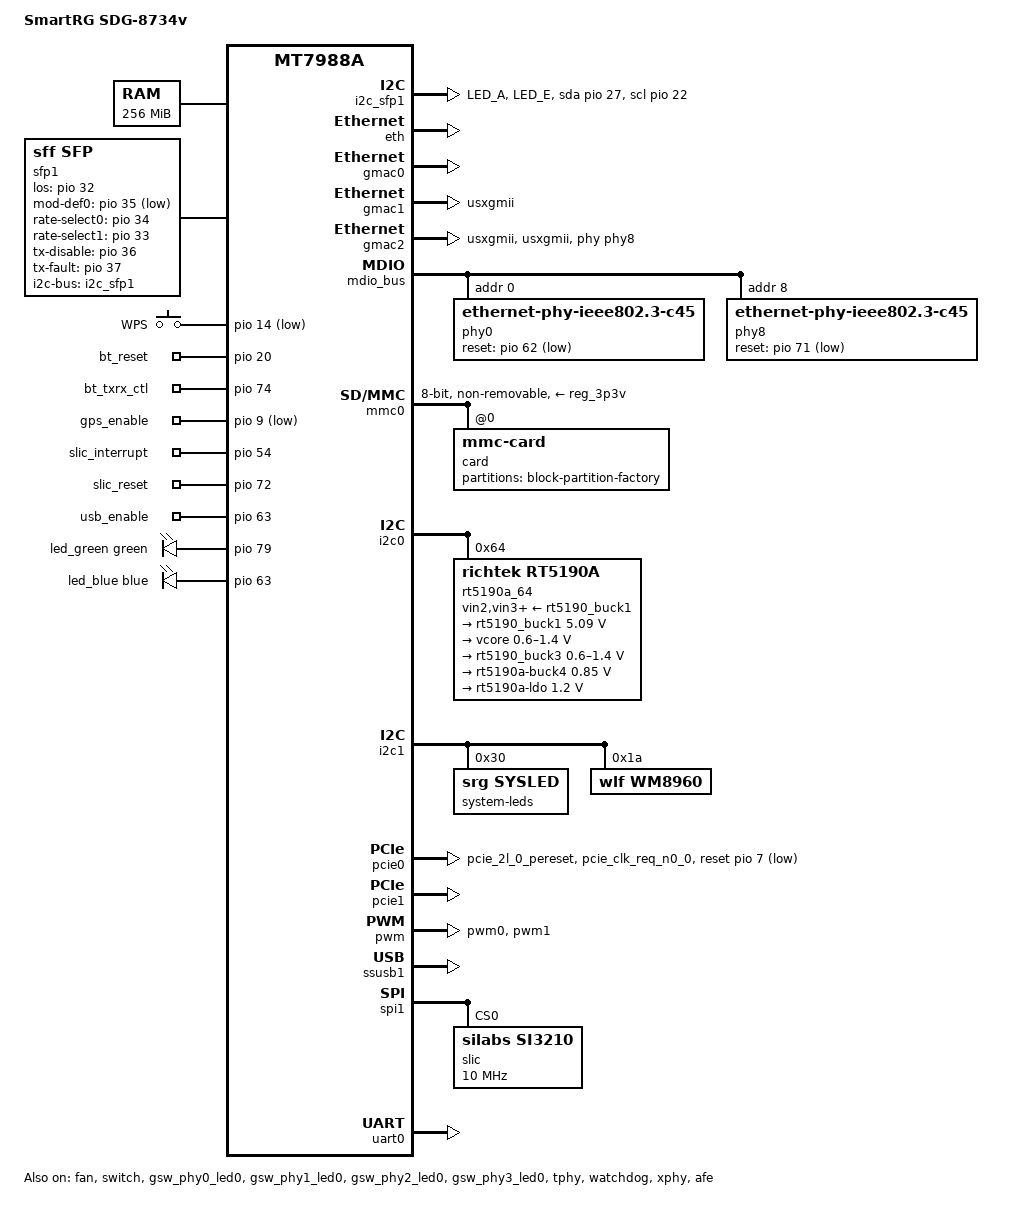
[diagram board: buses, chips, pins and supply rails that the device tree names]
// SPDX-License-Identifier: GPL-2.0-only OR MIT

/dts-v1/;

#include <dt-bindings/gpio/gpio.h>
#include <dt-bindings/input/input.h>
#include <dt-bindings/leds/common.h>
#include <dt-bindings/regulator/richtek,rt5190a-regulator.h>

#include "mt7988a.dtsi"

/ {
	compatible = "smartrg,sdg-8734v", "mediatek,mt7988a";
	model = "SmartRG SDG-8734v";
	chassis-type = "embedded";

	aliases {
		serial0 = &uart0;
		led-boot = &led_green;
		led-failsafe = &led_green;
		led-running = &led_green;
		led-upgrade = &led_green;
	};

	chosen {
		stdout-path = &uart0;
		bootargs = "console=ttyS0,115200n1 loglevel=8 pci=pcie_bus_perf";
	};

	memory {
		reg = <0x00 0x40000000 0x00 0x10000000>;
	};

	i2c_sfp1: i2c-gpio-0 {
		pinctrl-names = "default";
		pinctrl-0 = <&sfp_i2c_pins>;

		compatible = "i2c-gpio";
		sda-gpios = <&pio 27 (GPIO_ACTIVE_HIGH | GPIO_OPEN_DRAIN)>;
		scl-gpios = <&pio 22 (GPIO_ACTIVE_HIGH | GPIO_OPEN_DRAIN)>;
		i2c-gpio,delay-us = <2>;
		#address-cells = <1>;
		#size-cells = <0>;
	};

	sfp1: sfp1 {
		compatible = "sff,sfp";
		i2c-bus = <&i2c_sfp1>;
		los-gpios = <&pio 32 GPIO_ACTIVE_HIGH>;
		mod-def0-gpios = <&pio 35 GPIO_ACTIVE_LOW>;
		rate-select0-gpios = <&pio 34 GPIO_ACTIVE_HIGH>;
		rate-select1-gpios = <&pio 33 GPIO_ACTIVE_HIGH>;
		tx-disable-gpios = <&pio 36 GPIO_ACTIVE_HIGH>;
		tx-fault-gpios = <&pio 37 GPIO_ACTIVE_HIGH>;
		maximum-power-milliwatt = <4000>;
	};

	sound_wm8960 {
		compatible = "mediatek,mt7986-wm8960-sound";
		audio-routing = "Headphone", "HP_L", "Headphone", "HP_R", "LINPUT1", "AMIC", "RINPUT1", "AMIC";
		status = "disabled";

		platform {
			sound-dai = <&afe>;
		};

		codec {
			sound-dai = <&wm8960>;
		};
	};

	dummy_codec: dummy_codec {
		compatible = "d2,slic-dummy-codec";
		#sound-dai-cells = <0>;
	};

	sound_si3218x {
		compatible = "mediatek,mt7986-si3218x-sound";
		status = "okay";

		platform {
			sound-dai = <&afe>;
		};

		codec {
			sound-dai = <&dummy_codec>;
		};
	};


	gpio-keys {
		compatible = "gpio-keys";

		wps {
			label = "WPS";
			linux,code = <KEY_RESTART>;
			gpios = <&pio 14 GPIO_ACTIVE_LOW>;
		};
	};

	gpio-export {
		compatible = "gpio-export";

		bluetooth_reset {
			gpio-export,name = "bt_reset";
			gpio-export,direction_may_change;
			gpios = <&pio 20 GPIO_ACTIVE_HIGH>;
		};

		bluetooth_txrx_ctl {
			gpio-export,name = "bt_txrx_ctl";
			gpio-export,direction_may_change;
			gpios = <&pio 74 GPIO_ACTIVE_HIGH>;
		};

		gps_enable {
			gpio-export,name = "gps_enable";
			gpio-export,output = <1>;
			gpios = <&pio 9 GPIO_ACTIVE_LOW>;
		};

		slic_interrupt {
			gpio-export,name = "slic_interrupt";
			gpio-export,direction_may_change;
			gpios = <&pio 54 GPIO_ACTIVE_HIGH>;
		};

		slic_reset {
			gpio-export,name = "slic_reset";
			gpio-export,output = <0>;
			gpios = <&pio 72 GPIO_ACTIVE_HIGH>;
		};

		usb_enable {
			gpio-export,name = "usb_enable";
			gpio-export,output = <1>;
			gpios = <&pio 63 GPIO_ACTIVE_HIGH>;
		};
	};

	gpio-leds {
		compatible = "gpio-leds";

		led_green: led-green {
			function = LED_FUNCTION_STATUS;
			color = <LED_COLOR_ID_GREEN>;
			gpios = <&pio 79 GPIO_ACTIVE_HIGH>;
			default-state = "on";
		};

		led_blue: led-blue {
			function = LED_FUNCTION_WPS;
			color = <LED_COLOR_ID_BLUE>;
			gpios = <&pio 63 GPIO_ACTIVE_HIGH>;
			default-state = "off";
		};
	};
};

&eth {
	status = "okay";
};

&fan {
	pwms = <&pwm 0 40000 0>;

	/**
	 * set fan speed
	 *
	 * 0 = off
	 * 61 = 24% duty cycle
	 * 77 = 30% duty cycle
	 * 102 = 40% duty cycle
	 * 128 - 50% duty cycle
	 * 255 = 100% duty cycle
	 */
	cooling-levels = <61 77 102 128>;

	interrupt-parent = <&pio>;
	interrupts = <21 IRQ_TYPE_EDGE_FALLING>;
	pulses-per-revolution = <2>;

	status = "okay";
};

/* 10G connected to the switch */
&gmac0 {
	status = "okay";
};

/* 10G SFP+ */
&gmac1 {
	sfp = <&sfp1>;
	managed = "in-band-status";
	phy-mode = "usxgmii";
	status = "okay";
};

/* 10G RF45 */
&gmac2 {
	managed = "in-band-status";
	phy-mode = "usxgmii";
	phy-connection-type = "usxgmii";
	phy = <&phy8>;
	status = "okay";
};

&mdio_bus {
	phy0: ethernet-phy@0 {
		/* AQR113C */
		compatible = "ethernet-phy-ieee802.3-c45";
		reg = <0>;

		reset-gpios = <&pio 62 GPIO_ACTIVE_LOW>;
		reset-assert-us = <100000>;
		reset-deassert-us = <1000000>;

		aqr,led-config = <0xC000 0x60 0x80>;
		aqr,led-drive-vdd = <0x0 0x0 0x1>;
	};

	phy8: ethernet-phy@8 {
		/* AQR113C */
		compatible = "ethernet-phy-ieee802.3-c45";
		reg = <8>;

		reset-gpios = <&pio 71 GPIO_ACTIVE_LOW>;
		reset-assert-us = <100000>;
		reset-deassert-us = <1000000>;

		aqr,led-config = <0xC000 0x60 0x80>;
		aqr,led-drive-vdd = <0x0 0x0 0x1>;
	};
};

&mmc0 {
	pinctrl-names = "default", "state_uhs";
	pinctrl-0 = <&mmc0_pins_emmc_51>;
	pinctrl-1 = <&mmc0_pins_emmc_51>;
	bus-width = <8>;
	max-frequency = <200000000>;
	cap-mmc-highspeed;
	mmc-hs200-1_8v;
	mmc-hs400-1_8v;
	hs400-ds-delay = <0x12814>;
	vmmc-supply = <&reg_3p3v>;
	vqmmc-supply = <&reg_1p8v>;
	non-removable;
	no-sd;
	no-sdio;
	status = "okay";
	#address-cells = <1>;
	#size-cells = <0>;

	card@0 {
		#address-cells = <0>;
		#size-cells = <0>;
		compatible = "mmc-card";
		reg = <0>;

		block {
			compatible = "block-device";

			partitions {
				block-partition-factory {
					partname = "factory";

					nvmem-layout {
						compatible = "fixed-layout";
						#address-cells = <1>;
						#size-cells = <1>;

						eeprom_factory_0: eeprom@0 {
							reg = <0x0 0x1e00>;
						};
					};
				};
			};
		};
	};
};

&switch {
	status = "okay";
};

&gsw_phy0 {
	pinctrl-names = "gbe-led";
	pinctrl-0 = <&gbe0_led0_pins>;
};

&gsw_port0 {
	label = "wan";
};

&gsw_phy0_led0 {
	status = "okay";
	color = <LED_COLOR_ID_GREEN>;
};

&gsw_phy1 {
	pinctrl-names = "gbe-led";
	pinctrl-0 = <&gbe1_led0_pins>;
};

&gsw_phy1_led0 {
	status = "okay";
	color = <LED_COLOR_ID_GREEN>;
};

&gsw_phy2 {
	pinctrl-names = "gbe-led";
	pinctrl-0 = <&gbe2_led0_pins>;
};

&gsw_phy2_led0 {
	status = "okay";
	color = <LED_COLOR_ID_GREEN>;
};

&gsw_phy3 {
	pinctrl-names = "gbe-led";
	pinctrl-0 = <&gbe3_led0_pins>;
};

&gsw_phy3_led0 {
	status = "okay";
	color = <LED_COLOR_ID_GREEN>;
};

&cpu0 {
	proc-supply = <&rt5190_buck3>;
};

&cpu1 {
	proc-supply = <&rt5190_buck3>;
};

&cpu2 {
	proc-supply = <&rt5190_buck3>;
};

&cpu3 {
	proc-supply = <&rt5190_buck3>;
};

&cci {
	proc-supply = <&rt5190_buck3>;
};

&cpu_thermal {
	/delete-node/cooling-maps;
	/delete-node/trips;

	trips {
		cpu_trip_crit: crit {
			temperature = <125000>;
			hysteresis = <2000>;
			type = "critical";
		};

		cpu_trip_hot: hot {
			temperature = <120000>;
			hysteresis = <2000>;
			type = "hot";
		};

		cpu_trip_active_high: active-high {
			temperature = <110000>;
			hysteresis = <2000>;
			type = "active";
		};

		cpu_trip_active_med: active-med {
			temperature = <80000>;
			hysteresis = <2000>;
			type = "active";
		};

		cpu_trip_active_low: active-low {
			temperature = <60000>;
			hysteresis = <2000>;
			type = "active";
		};

		cpu_trip_active_silent: active-silent {
			temperature = <40000>;
			hysteresis = <2000>;
			type = "active";
		};
	};

	cooling-maps {
		cpu-active-high {
			/* active: set fan to cooling level 3 */
			cooling-device = <&fan 3 3>;
			trip = <&cpu_trip_active_high>;
		};

		cpu-active-med {
			/* active: set fan to cooling level 2 */
			cooling-device = <&fan 2 2>;
			trip = <&cpu_trip_active_med>;
		};

		cpu-active-low {
			/* active: set fan to cooling level 1 */
			cooling-device = <&fan 1 1>;
			trip = <&cpu_trip_active_low>;
		};

		cpu-active-silent {
			/* active: set fan to cooling level 0 */
			cooling-device = <&fan 0 0>;
			trip = <&cpu_trip_active_silent>;
		};
	};
};

&i2c0 {
	pinctrl-names = "default";
	pinctrl-0 = <&i2c0_pins>;
	status = "okay";

	rt5190a_64: rt5190a@64 {
		compatible = "richtek,rt5190a";
		reg = <0x64>;
		vin2-supply = <&rt5190_buck1>;
		vin3-supply = <&rt5190_buck1>;
		vin4-supply = <&rt5190_buck1>;

		regulators {
			rt5190_buck1: buck1 {
				regulator-name = "rt5190a-buck1";
				regulator-min-microvolt = <5090000>;
				regulator-max-microvolt = <5090000>;
				regulator-allowed-modes =
				<RT5190A_OPMODE_AUTO RT5190A_OPMODE_FPWM>;
				regulator-boot-on;
				regulator-always-on;
			};
			buck2 {
				regulator-name = "vcore";
				regulator-min-microvolt = <600000>;
				regulator-max-microvolt = <1400000>;
				regulator-boot-on;
				regulator-always-on;
			};
			rt5190_buck3: buck3 {
				regulator-name = "vproc";
				regulator-min-microvolt = <600000>;
				regulator-max-microvolt = <1400000>;
				regulator-boot-on;
			};
			buck4 {
				regulator-name = "rt5190a-buck4";
				regulator-min-microvolt = <850000>;
				regulator-max-microvolt = <850000>;
				regulator-allowed-modes =
				<RT5190A_OPMODE_AUTO RT5190A_OPMODE_FPWM>;
				regulator-boot-on;
				regulator-always-on;
			};
			ldo {
				regulator-name = "rt5190a-ldo";
				regulator-min-microvolt = <1200000>;
				regulator-max-microvolt = <1200000>;
				regulator-boot-on;
				regulator-always-on;
			};
		};
	};
};

&i2c1 {
	pinctrl-names = "default";
	pinctrl-0 = <&i2c1_pins>;
	status = "okay";
	#address-cells = <0x01>;
	#size-cells = <0x00>;

	system-leds@30 {
		compatible = "srg,sysled";
		reg = <0x30>;
		#address-cells = <0x00>;
		#size-cells = <0x1>;

		led_sys_red: system_red {
			label = "red";
			reg = <0x01>;
		};

		led_sys_green: system_green {
			label = "green";
			reg = <0x02>;
			linux,default-trigger = "timer";
		};

		led_sys_blue: system_blue {
			label = "blue";
			reg = <0x03>;
		};

		led_sys_white: system_white {
			label = "white";
			reg = <0x04>;
		};
	};

	wm8960: wm8960@1a {
		compatible = "wlf,wm8960";
		reg = <0x1a>;
		#sound-dai-cells = <0>;
	};
};

&pcie0 {
	pinctrl-names = "default";
	pinctrl-0 = <&pcie0_1_pins>;
	reset-gpios = <&pio 7 GPIO_ACTIVE_LOW>;
	status = "okay";

	pcie@0,0 {
		#address-cells = <0x01>;
		#size-cells = <0x0>;
		reg = <0x0000 0 0 0 0>;

		mt7996@0,0 {
			reg = <0x0000 0 0 0 0>;
			nvmem-cells = <&eeprom_factory_0>;
			nvmem-cell-names = "eeprom";
			ieee80211-freq-limit = <2400000 2500000>, <5170000 5835000>, <5945000 7125000>;
		};
	};
};

&pcie1 {
	pinctrl-names = "default";
	pinctrl-0 = <&pcie1_pins>;
	status = "okay";
};

&pcie2 {
	status = "disabled";
};

&pcie3 {
	status = "disabled";
};

&pio {
	pcie0_1_pins: pcie0-pins-g1 {
		mux {
			function = "pcie";
			groups = "pcie_2l_0_pereset", "pcie_clk_req_n0_0";
		};
	};
	pwm_pins: pwm-pins {
		mux {
			function = "pwm";
			groups = "pwm0", "pwm1";
		};
	};
	sfp_i2c_pins: sfp-i2c-pins {
		conf-scl {
			pins = "LED_A";
			drive-strength =  <8>;
			mediatek,pull-up-adv = <1>;
		};
		conf-sda {
			pins = "LED_E";
			drive-strength =  <8>;
			mediatek,pull-up-adv = <0>;
		};
	};
	i2s-pins {
		mux {
			function = "audio";
			groups = "i2s";
		};
	};

	pcm-pins {
		mux {
			function = "audio";
			groups = "pcm";
		};
	};
};

&pwm {
	pinctrl-names = "default";
	pinctrl-0 = <&pwm_pins>;
	status = "okay";
};

&ssusb1 {
	status = "okay";
};

&tphy {
	status = "okay";
};

&spi0 {
	pinctrl-names = "default";
	pinctrl-0 = <&spi0_flash_pins>;
	status = "disabled";

	spi_nand: spi_nand@0 {
		compatible = "spi-nand";
		reg = <0>;
		spi-max-frequency = <52000000>;
		spi-tx-buswidth = <4>;
		spi-rx-buswidth = <4>;
	};
};

&spi1 {
	status = "okay";
	slic: slic@0 {
		compatible = "silabs,si3210";
		spi-max-frequency = <10000000>;
		reg = <0x00>;
	};
};

&uart0 {
	status = "okay";
};

&watchdog {
	status = "okay";
};

&xphy {
	status = "okay";
};

/* afe: audio-controller@11210000 */
&afe {
	status = "okay";
	#sound-dai-cells = <0>;
};
